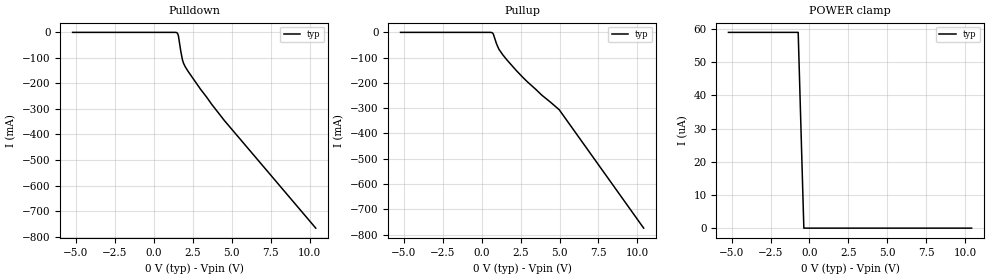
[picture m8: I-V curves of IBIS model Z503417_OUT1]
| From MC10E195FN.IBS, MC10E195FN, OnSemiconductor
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| (C) COPYRIGHT 1993-2000
| MENTOR GRAPHICS CORPORATION
| ICX STANDARD LIBRARY, ICX PROJECT MODELING,
| ICX CUSTOM MODELING, ICX VENDOR MODEL
| ALL RIGHTS RESERVED.
| THE FOLLOWING ARE TRADEMARKS OR SERVICE MARKS OF
| MENTOR GRAPHICS CORPORATION:ICX (R), ICX STANDARD
| LIBRARY(R), ICX PROJECT MODELING(R), ICX CUSTOM
| MODELING(R), qualityIBIS(TM), MODELVIEWER(TM),
| AND MODELEDITOR(TM)
| ALL COPIES OF SOFTWARE, INCLUDING BUT NOT LIMITED TO
| ANY MODIFICATIONS, ENHANCEMENTS OR DERIVATIVE WORKS,
| MUST CONTAIN ALL MENTOR GRAPHICS CORPORATION'S
| NOTICES AND LEGENDS, INCLUDING THOSE EMBEDDED IN
| SOFTWARE AND THOSE AFFIXED TO SOFTWARE MEDIUM
| AND CONTAINER, AS RECEIVED FROM MENTOR GRAPHICS
| CORPORATION.
| Model Application Version 1.89 2/18/99.
[Model] Z503417_OUT1
Model_type Output_ECL
Vref=-2.000V
Rref=50.00ohms
Cref=0.000F
Vmeas=-1.305V
C_comp 8.000pF NA NA
| variable typ   min   max
[Voltage Range] -5.200V NA NA
[POWER Clamp Reference] 0.000V NA NA
[Pullup Reference] 0.000V NA NA
[Pulldown Reference] 0.000V NA NA
[GND Clamp Reference] -5.200V NA NA
[GND Clamp]
-5.2V     0A         NA         NA
10.4V     0A         NA         NA
[Pulldown]
-5.2V     190uA      NA         NA
1.504V    -1.764mA   NA         NA
1.56V     -7.635mA   NA         NA
1.592V    -15.07mA   NA         NA
1.744V    -74.91mA   NA         NA
1.846V    -107.2mA   NA         NA
1.914V    -120.5mA   NA         NA
2.233V    -154.7mA   NA         NA
2.998V    -221.8mA   NA         NA
4.537V    -345.4mA   NA         NA
10.4V     -767.1mA   NA         NA
[Pullup]
-5.2V     153.4uA    NA         NA
683.7mV   -1.49mA    NA         NA
761.7mV   -7.854mA   NA         NA
957.5mV   -44.96mA   NA         NA
1.114V    -66.82mA   NA         NA
1.644V    -110.2mA   NA         NA
2.91V     -193.9mA   NA         NA
3.868V    -248.6mA   NA         NA
4.98V     -306mA     NA         NA
10.4V     -774.8mA   NA         NA
[POWER Clamp]
-5.2V     59uA       NA         NA
-724.9mV  59uA       NA         NA
-362.5mV  0A         NA         NA
10.4V     0A         NA         NA
[Ramp]
| variable typ min max
dV/dt_r 433.3m/585.9p NA NA
dV/dt_f 433.3m/911.8p NA NA
R_load = 50.00Ohms
